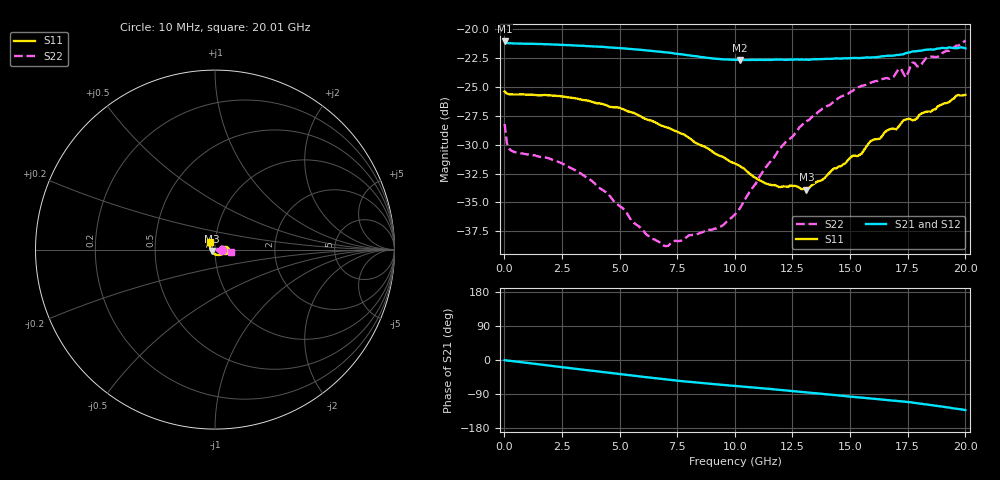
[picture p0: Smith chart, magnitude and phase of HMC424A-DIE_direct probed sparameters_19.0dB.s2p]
!s2p File: Measurements: S11, S21, S12, S22
# GHz S dB R 50.0
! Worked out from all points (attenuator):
!   201 points, 10 MHz to 20.01 GHz, reference 50 ohm
!   highest |S21| = -21.07 dB at 10 MHz (marker M1); lowest = -22.7 dB at 10.21 GHz (marker M2)
!   lowest |S11| = -33.9 dB at 13.11 GHz (marker M3), VSWR 1.04, Z = 48.1 - j0.713 ohm
!   |S11| at or under -10 dB: start of sweep to end of sweep
!   |S22| runs from -38.8 to -21.0 dB; largest |S21 - S12| = 0.0008
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0.01  -25.40 -0.2  -21.07 -0.3  -21.07 -0.4  -28.22 -3.7
0.11  -25.58 -1.5  -21.20 -1.3  -21.19 -1.3  -29.89 -7.8
0.31  -25.65 -2.3  -21.24 -2.6  -21.24 -2.6  -30.53 -6.5
1.91  -25.73 -12.9  -21.32 -14.5  -21.32 -14.5  -31.17 -17.4
3.41  -26.14 -23.5  -21.45 -25.6  -21.45 -25.6  -32.63 -28.3
5.01  -26.82 -36.4  -21.65 -37.2  -21.65 -37.1  -35.33 -33.6
6.71  -28.25 -50.8  -21.96 -49.1  -21.95 -49.1  -38.41 -17.9
7.11  -28.54 -54.4  -22.04 -51.8  -22.04 -51.8  -38.75 -9.8
9.21  -30.84 -78.4  -22.58 -64.3  -22.58 -64.3  -37.25 14.0
10.01  -31.64 -90.4  -22.67 -68.3  -22.67 -68.2  -36.03 25.5
10.21  -31.84 -93.3  -22.68 -69.2  -22.68 -69.2  -35.55 29.1
11.31  -33.34 -116.0  -22.68 -75.2  -22.66 -75.2  -32.04 34.8
13.11  -33.88 -158.5  -22.64 -85.6  -22.63 -85.5  -27.97 25.7
13.41  -33.43 -165.8  -22.62 -87.0  -22.63 -87.0  -27.49 24.2
15.21  -30.95 160.2  -22.50 -97.7  -22.50 -97.7  -25.19 11.8
16.71  -28.69 140.0  -22.31 -106.2  -22.28 -106.2  -24.31 2.9
17.21  -28.18 138.2  -22.21 -109.1  -22.16 -109.3  -23.42 -1.6
17.41  -27.83 135.1  -22.10 -110.1  -22.11 -110.5  -24.18 -0.7
17.71  -27.89 131.4  -21.94 -112.4  -21.99 -112.6  -22.91 -0.0
18.01  -27.42 130.2  -21.89 -114.9  -21.93 -114.7  -23.27 -1.8
18.31  -27.15 126.4  -21.79 -117.2  -21.83 -117.1  -22.51 -1.5
20.01  -25.69 124.2  -21.67 -132.2  -21.64 -132.2  -20.99 -9.8
